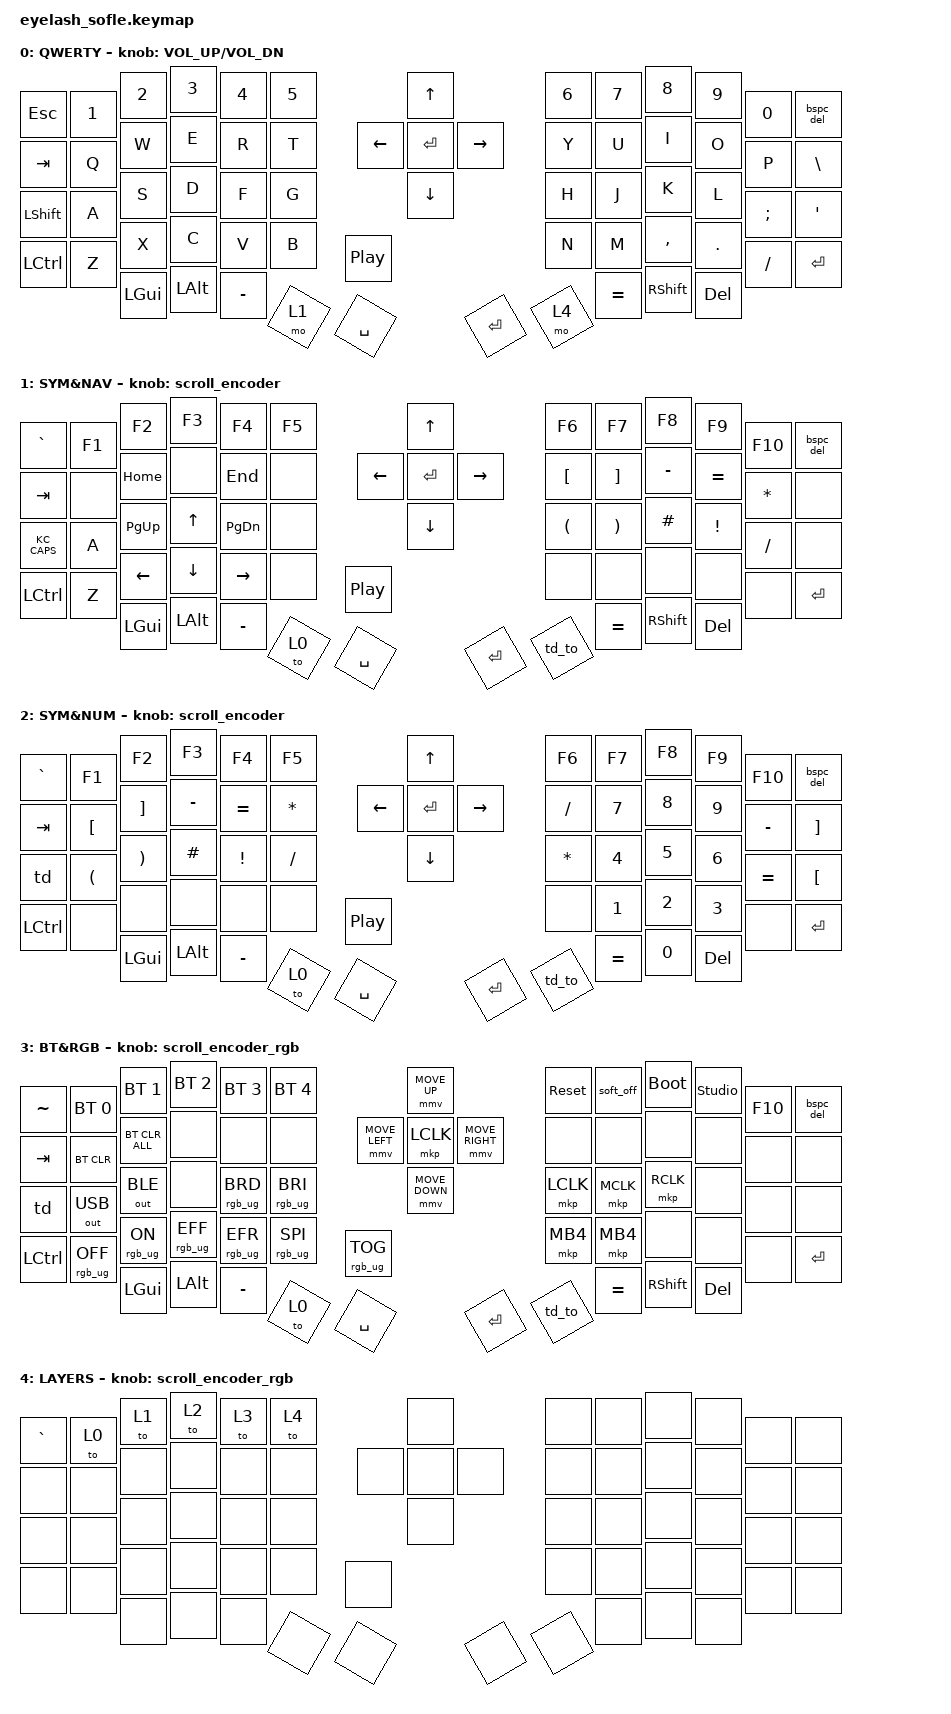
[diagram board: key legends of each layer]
#define ZMK_POINTING_DEFAULT_MOVE_VAL 1200  // 600
#define ZMK_POINTING_DEFAULT_SCRL_VAL 25   // 10

#include <input/processors.dtsi>
#include <zephyr/dt-bindings/input/input-event-codes.h>
#include <behaviors.dtsi>
#include <dt-bindings/zmk/bt.h>
#include <dt-bindings/zmk/keys.h>
#include <dt-bindings/zmk/outputs.h>
#include <dt-bindings/zmk/pointing.h>
#include <dt-bindings/zmk/rgb.h>
#include <dt-bindings/zmk/outputs.h>
#include <behaviors/mouse_keys.dtsi>

&mmv_input_listener { input-processors = <&zip_xy_scaler 2 1>; };

&msc_input_listener { input-processors = <&zip_scroll_scaler 2 1>; };

&msc {
    acceleration-exponent = <1>;      // 0
    time-to-max-speed-ms = <100>;       // 300
    delay-ms = <0>;                   // 0
};

&mmv {
    time-to-max-speed-ms = <500>;
    acceleration-exponent = <1>;
    trigger-period-ms = <16>;
};



/ {

    behaviors {
        td: tapdance {
            compatible = "zmk,behavior-tap-dance";
            #binding-cells = <0>;
            tapping-term-ms = <200>;
            bindings = <&kp LSHIFT>, <&kp CAPSLOCK>;
        };

        td_to: tapdance_to {
            compatible = "zmk,behavior-tap-dance";
            #binding-cells = <0>;
            tapping-term-ms = <200>;
            bindings = <&to 0>, <&to 1>, <&to 2>, <&to 3>;
        };

        scroll_encoder: scroll_encoder {
            compatible = "zmk,behavior-sensor-rotate";
            #sensor-binding-cells = <0>;
            bindings = <&msc SCRL_DOWN>, <&msc SCRL_UP>;
            tap-ms = <10>;
         };

        scroll_encoder_rgb: scroll_encoder_rgb {
            compatible = "zmk,behavior-sensor-rotate";
            #sensor-binding-cells = <0>;
            bindings = <&rgb_ug RGB_HUD>, <&rgb_ug RGB_HUI>;
            tap-ms = <10>;
         };

        bspc_del: backspace_delete {
            compatible = "zmk,behavior-mod-morph";
            #binding-cells = <0>;
            bindings = <&kp BACKSPACE>, <&kp DELETE>;
            mods = <(MOD_LSFT|MOD_RSFT)>;
            keep-mods = <(MOD_RSFT)>;
        };
    };
    keymap {
        compatible = "zmk,keymap";

        layer0 {
            bindings = <
&kp ESC             &kp N1        &kp N2        &kp N3        &kp N4  &kp N5       &kp UP_ARROW     &kp N6     &kp N7     &kp N8     &kp N9           &kp N0      &bspc_del
&kp TAB             &kp Q         &kp W         &kp E         &kp R   &kp T        &kp DOWN_ARROW   &kp Y      &kp U      &kp I      &kp O            &kp P       &kp BSLH
&kp LEFT_SHIFT                 &kp A         &kp S         &kp D         &kp F   &kp G        &kp LEFT_ARROW   &kp H      &kp J      &kp K      &kp L            &kp SEMI    &kp APOS
&kp LCTRL           &kp Z         &kp X         &kp C         &kp V   &kp B        &kp RIGHT_ARROW  &kp N      &kp M      &kp COMMA  &kp DOT          &kp FSLH    &kp ENTER
&kp C_PLAY_PAUSE    &kp LEFT_GUI  &kp LEFT_ALT  &kp MINUS     &mo 1   &kp SPACE    &kp ENTER        &kp ENTER  &mo 4      &kp EQUAL  &kp RIGHT_SHIFT  &kp DELETE
            >;

            sensor-bindings = <&inc_dec_kp C_VOLUME_UP C_VOL_DN>;
            display-name = "QWERTY";
        };

        layer_1 {
            bindings = <
&kp GRAVE                  &kp F1           &kp F2             &kp F3           &kp F4           &kp F5             &kp UP_ARROW     &kp F6             &kp F7              &kp F8           &kp F9           &kp F10            &bspc_del
&kp TAB                    &none            &kp HOME           &none            &kp END          &none              &kp DOWN_ARROW   &kp LEFT_BRACKET   &kp RIGHT_BRACKET   &kp MINUS        &kp EQUAL        &kp ASTERISK       &none
&kp KC_CAPS                        &kp A            &kp PAGE_UP        &kp UP_ARROW     &kp PAGE_DOWN    &none              &kp LEFT_ARROW   &kp LPAR           &kp RPAR            &kp HASH         &kp EXCLAMATION  &kp SLASH          &none 
&kp LCTRL                  &kp Z            &kp LEFT_ARROW     &kp DOWN_ARROW   &kp RIGHT_ARROW  &none              &kp RIGHT_ARROW  &none              &none               &none            &none            &none              &kp ENTER 
&kp C_PLAY_PAUSE           &kp LEFT_GUI     &kp LEFT_ALT       &kp MINUS        &to 0            &kp SPACE          &kp ENTER        &kp ENTER          &td_to              &kp EQUAL        &kp RIGHT_SHIFT  &kp DELETE
            >;
            display-name = "SYM&NAV";
            sensor-bindings = <&scroll_encoder>;
        };

        layer_2 {
            bindings = <
&kp GRAVE                  &kp F1           &kp F2             &kp F3           &kp F4           &kp F5             &kp UP_ARROW     &kp F6       &kp F7      &kp F8      &kp F9           &kp F10           &bspc_del 
&kp TAB                    &kp LEFT_BRACKET &kp RIGHT_BRACKET  &kp MINUS        &kp EQUAL        &kp ASTERISK       &kp DOWN_ARROW   &kp SLASH    &kp N7      &kp N8      &kp N9           &kp MINUS         &kp RIGHT_BRACKET
&td                        &kp LPAR         &kp RPAR           &kp HASH         &kp EXCLAMATION  &kp SLASH          &kp LEFT_ARROW   &kp ASTERISK &kp N4      &kp N5      &kp N6           &kp EQUAL         &kp LEFT_BRACKET
&kp LCTRL                  &none            &none              &none            &none            &none              &kp RIGHT_ARROW  &none        &kp N1      &kp N2      &kp N3           &none             &kp ENTER  
&kp C_PLAY_PAUSE           &kp LEFT_GUI     &kp LEFT_ALT       &kp MINUS        &to 0            &kp SPACE          &kp ENTER        &kp ENTER    &td_to      &kp EQUAL   &kp N0           &kp DELETE
            >;

            display-name = "SYM&NUM";
            sensor-bindings = <&scroll_encoder>;
        };

        layer_3 {
            bindings = <
&kp TILDE                  &bt BT_SEL 0     &bt BT_SEL 1       &bt BT_SEL 2     &bt BT_SEL 3    &bt BT_SEL 4        &mmv MOVE_UP     &sys_reset  &soft_off   &bootloader &studio_unlock    &kp F10      &bspc_del 
&kp TAB                    &bt BT_CLR       &bt BT_CLR_ALL     &none            &none           &none               &mmv MOVE_DOWN   &none       &none       &none       &none             &none        &none 
&td                        &out OUT_USB     &out OUT_BLE       &none            &rgb_ug RGB_BRD &rgb_ug RGB_BRI     &mmv MOVE_LEFT   &mkp LCLK   &mkp MCLK   &mkp RCLK   &none             &none        &none 
&kp LCTRL                  &rgb_ug RGB_OFF  &rgb_ug RGB_ON     &rgb_ug RGB_EFF  &rgb_ug RGB_EFR &rgb_ug RGB_SPI     &mmv MOVE_RIGHT  &mkp MB4    &mkp MB4    &none       &none             &none        &kp ENTER 
&rgb_ug RGB_TOG            &kp LEFT_GUI     &kp LEFT_ALT       &kp MINUS        &to 0           &kp SPACE           &mkp LCLK        &kp ENTER   &td_to      &kp EQUAL   &kp RIGHT_SHIFT   &kp DELETE
            >;

            sensor-bindings = <&scroll_encoder_rgb>;
            display-name = "BT&RGB";
        };

        layer_4 {
            bindings = <
&kp GRAVE                  &to 0            &to 1              &to 2            &to 3            &to 4              &none            &none        &none       &none       &none            &none             &none 
&none                      &none            &none              &none            &none            &none              &none            &none        &none       &none       &none            &none             &none
&none                      &none            &none              &none            &none            &none              &none            &none        &none       &none       &none            &none             &none
&none                      &none            &none              &none            &none            &none              &none            &none        &none       &none       &none            &none             &none  
&none                      &none            &none              &none            &none            &none              &none            &none        &none       &none       &none            &none
            >;

            display-name = "LAYERS";
            sensor-bindings = <&scroll_encoder_rgb>;
        };

    };
};


